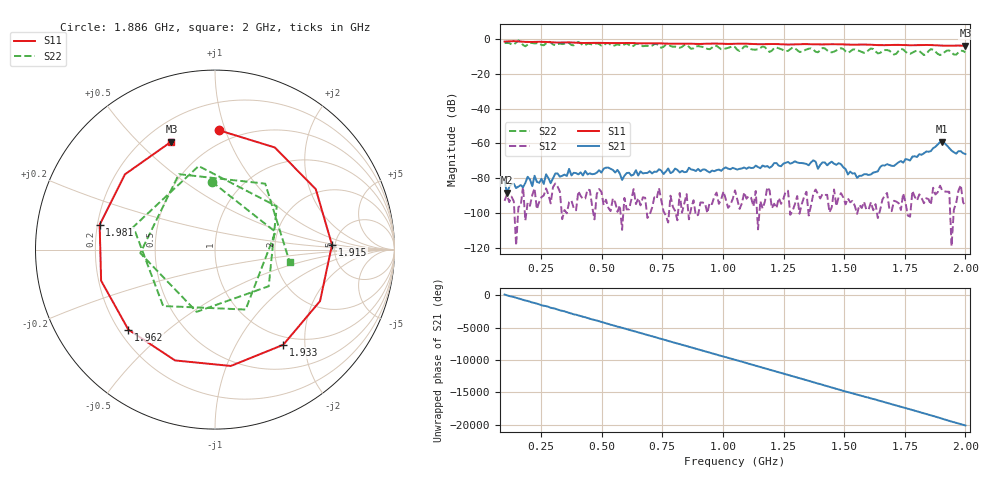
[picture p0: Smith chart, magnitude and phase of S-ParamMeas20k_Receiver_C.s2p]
!Keysight Technologies,N5242B,MY48420967,A.15.65.19
!Date: Saturday, February 04, 2023 00:39:51
!Correction: S11(C  1-Port  )
!S21(Off)
!S12(Off)
!S22(Off)
!S2P File: Measurements: S11, S21, S12, S22:
# Hz S  dB  R 50
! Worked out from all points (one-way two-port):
!   201 points, 100 MHz to 2 GHz, reference 50 ohm
!   highest |S21| = -59.01 dB at 1.905 GHz (marker M1); lowest = -88.4 dB at 109.5 MHz (marker M2)
!   lowest |S11| = -3.8 dB at 2 GHz (marker M3), VSWR 4.70, Z = 15.2 + j31.6 ohm
!   |S11| at or under -10 dB: nowhere
!   |S22| runs from -9.1 to -0.7 dB; largest |S21 - S12| = 0.0012
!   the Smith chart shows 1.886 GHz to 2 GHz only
!   S11 on the Smith chart (normalised r, x): 1.886 GHz: 0.40, +0.95; 1.915 GHz: 4.71, +0.43; 1.933 GHz: 0.86, -1.59; 1.962 GHz: 0.24, -0.37; 1.981 GHz: 0.21, +0.10; 2 GHz: 0.30, +0.63
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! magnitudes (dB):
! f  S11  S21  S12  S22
! 100 MHz  -1.3  -81.6  -93.1  -2.2
! 109.5 MHz  -1.2  -88.4  -89.4  -2.1
! 299.5 MHz  -1.8  -80.1  -85.2  -3.0
! 356.5 MHz  -1.8  -78.7  -100.2  -1.9
! 366 MHz  -1.8  -74.7  -93.8  -2.2
! 423 MHz  -2.1  -78.4  -92.0  -3.5
! 527.5 MHz  -2.2  -73.9  -97.1  -2.1
! 584.5 MHz  -2.1  -81.0  -109.7  -3.5
! 736.5 MHz  -2.3  -74.8  -85.7  -3.9
! 1.05 GHz  -2.6  -74.6  -87.0  -4.5
! 1.373 GHz  -2.9  -69.7  -89.0  -5.9
! 1.392 GHz  -3.0  -74.6  -89.2  -7.5
! 1.478 GHz  -2.8  -71.4  -90.7  -5.7
! 1.554 GHz  -3.1  -79.8  -100.6  -6.3
! 1.687 GHz  -3.3  -72.4  -97.7  -6.6
! 1.886 GHz  -3.5  -60.6  -88.1  -8.4
! 1.905 GHz  -3.7  -59.0  -87.2  -8.5
! 1.915 GHz  -3.7  -59.9  -87.7  -7.4
! 1.933 GHz  -3.7  -62.7  -87.8  -6.5
! 1.962 GHz  -3.6  -65.9  -94.3  -8.8
! 1.981 GHz  -3.6  -64.5  -83.9  -6.6
! 2 GHz  -3.8  -66.1  -96.0  -7.5
